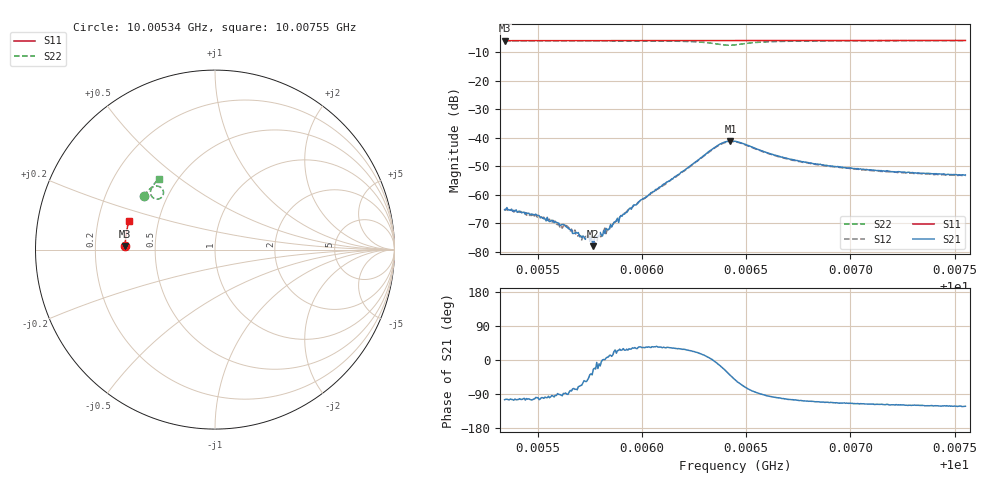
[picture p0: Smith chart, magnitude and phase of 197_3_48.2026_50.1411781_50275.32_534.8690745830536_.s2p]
#  HZ  S  RI  R  50.00
! Rohde & Schwarz Vector Network Analyzer
! Rohde-Schwarz,ZNB20-2Port,1311601062101988,3.16
! Created: UTC 3/20/2024, 11:44:53 AM
! freq[Hz]  re:S11  im:S11  re:S21  im:S21  re:S12  im:S12  re:S22  im:S22
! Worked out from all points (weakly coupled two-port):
!   401 points, 10.00534 GHz to 10.00755 GHz, reference 50 ohm
!   highest |S21| = -41.21 dB at 10.00642 GHz (marker M1); lowest = -78.1 dB at 10.00577 GHz (marker M2)
!   lowest |S11| = -6.0 dB at 10.00534 GHz (marker M3), VSWR 3.00, Z = 16.7 + j0.875 ohm
!   |S11| at or under -10 dB: nowhere
!   |S22| runs from -7.6 to -6.0 dB; largest |S21 - S12| = 0.00052
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1.0005341e10  -0.4999 0.0197  -0.000137 -0.00052  -0.000105 -0.000554  -0.3964 0.2981
1.0005496e10  -0.4999 0.0298  -7.06e-05 -0.000428  -6.71e-05 -0.000401  -0.3898 0.3073
1.0005584e10  -0.4995 0.0355  -1.82e-05 -0.000333  -3.07e-05 -0.000338  -0.3857 0.3127
1.0005606e10  -0.4995 0.0369  -6.56e-06 -0.000289  -7.78e-06 -0.000269  -0.3848 0.3139
1.000564e10  -0.4994 0.0391  -1.08e-06 -0.000269  3.01e-05 -0.000281  -0.3833 0.3161
1.0005695e10  -0.4992 0.0426  7.24e-05 -0.000203  6.29e-05 -0.000179  -0.3804 0.3193
1.0005711e10  -0.4992 0.0438  7.08e-05 -0.000162  3.73e-05 -0.000156  -0.3797 0.3205
1.000575e10  -0.4989 0.0462  0.000122 -9.71e-05  0.000132 -0.000121  -0.3775 0.3229
1.0005756e10  -0.499 0.0466  0.00014 -0.000105  0.000167 -5.94e-05  -0.3772 0.3233
1.0005767e10  -0.499 0.0472  0.000113 -5.14e-05  0.000142 -8.1e-05  -0.3766 0.324
1.0005778e10  -0.4989 0.0481  0.000171 -7.51e-05  0.000131 -3.76e-05  -0.3761 0.3247
1.0005789e10  -0.4988 0.0489  0.00017 -7.01e-05  0.000177 -4.39e-05  -0.3753 0.3255
1.0005833e10  -0.4987 0.0516  0.000244 3.07e-05  0.000233 5.27e-05  -0.3726 0.3283
1.0005927e10  -0.4982 0.0578  0.000426 0.000232  0.000429 0.000261  -0.3667 0.3344
1.0006082e10  -0.4972 0.0678  0.00111 0.000746  0.00104 0.000761  -0.3531 0.3454
1.0006358e10  -0.4945 0.0855  0.007 -0.000916  0.00686 -0.000533  -0.2891 0.3297
1.0006424e10  -0.4936 0.0892  0.00659 -0.00568  0.00673 -0.0052  -0.301 0.2885
1.0006446e10  -0.4934 0.0905  0.00528 -0.00679  0.00554 -0.00634  -0.3149 0.282
1.0006629e10  -0.4924 0.1022  -0.000668 -0.00499  -0.000398 -0.00491  -0.3596 0.3211
1.0006817e10  -0.4902 0.1143  -0.00114 -0.00332  -0.00103 -0.0033  -0.3521 0.3466
1.0007187e10  -0.485 0.1376  -0.00122 -0.00226  -0.0011 -0.00226  -0.3327 0.373
1.0007552e10  -0.4789 0.1602  -0.00117 -0.00187  -0.00106 -0.00186  -0.3139 0.392
